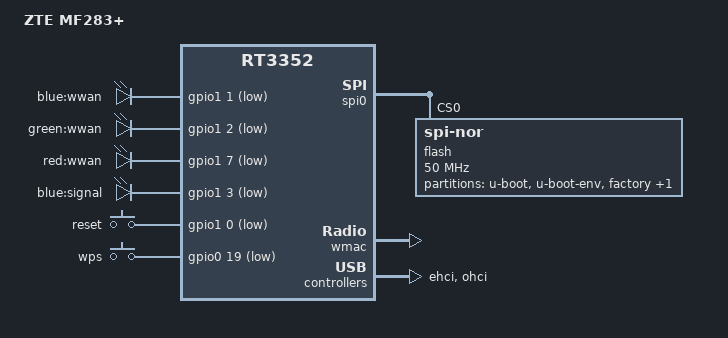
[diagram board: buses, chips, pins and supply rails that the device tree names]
// SPDX-License-Identifier: GPL-2.0-or-later OR MIT

#include "rt3352.dtsi"

#include <dt-bindings/gpio/gpio.h>
#include <dt-bindings/input/input.h>

/ {
	compatible = "zte,mf283plus", "ralink,rt3352-soc";
	model = "ZTE MF283+";

	aliases {
		led-boot = &led_wwan_green;
		led-failsafe = &led_wwan_red;
		led-upgrade = &led_wwan_red;
		label-mac-device = &ethernet;
	};

	leds {
		compatible = "gpio-leds";

		led_wwan_blue: wwan_blue {
			label = "blue:wwan";
			gpios = <&gpio1 1 GPIO_ACTIVE_LOW>;
		};

		led_wwan_green: wwan_green {
			label = "green:wwan";
			gpios = <&gpio1 2 GPIO_ACTIVE_LOW>;
		};

		led_wwan_red: wwan_red {
			label = "red:wwan";
			gpios = <&gpio1 7 GPIO_ACTIVE_LOW>;
		};

		signal {
			label = "blue:signal";
			gpios = <&gpio1 3 GPIO_ACTIVE_LOW>;
		};
	};

	keys {
		compatible = "gpio-keys-polled";
		poll-interval = <20>;

		reset {
			label = "reset";
			gpios = <&gpio1 0 GPIO_ACTIVE_LOW>;
			linux,code = <KEY_RESTART>;
		};

		wps {
			label = "wps";
			gpios = <&gpio0 19 GPIO_ACTIVE_LOW>;
			linux,code = <KEY_WPS_BUTTON>;
		};
	};
};

&spi0 {
	status = "okay";

	flash@0 {
		compatible = "jedec,spi-nor";
		reg = <0>;
		spi-max-frequency = <50000000>;
		m25p,fast-read;

		partitions {
			compatible = "fixed-partitions";
			#address-cells = <1>;
			#size-cells = <1>;

			partition@0 {
				label = "u-boot";
				reg = <0x0 0x60000>;
				read-only;
			};

			partition@60000 {
				label = "u-boot-env";
				reg = <0x60000 0x10000>;
				read-only;
			};

			factory: partition@70000 {
				label = "factory";
				reg = <0x70000 0x10000>;
				read-only;
			};

			partition@80000 {
				compatible = "denx,uimage";
				label = "firmware";
				reg = <0x80000 0xf80000>;
			};
		};
	};
};

&state_default {
	gpio {
		groups = "i2c", "jtag", "rgmii", "mdio", "uartf";
		function = "gpio";
	};
};

&gpio1 {
	status = "okay";
};

&ethernet {
	nvmem-cells = <&macaddr_factory_28>;
	nvmem-cell-names = "mac-address";
};

&esw {
	mediatek,portmap = <0x2f>;
};

&wmac {
	ralink,mtd-eeprom = <&factory 0x0>;
};

&ehci {
	status = "okay";
};

&ohci {
	status = "okay";
};

&factory {
	compatible = "nvmem-cells";
	#address-cells = <1>;
	#size-cells = <1>;

	macaddr_factory_28: macaddr@28 {
		reg = <0x28 0x6>;
	};
};
